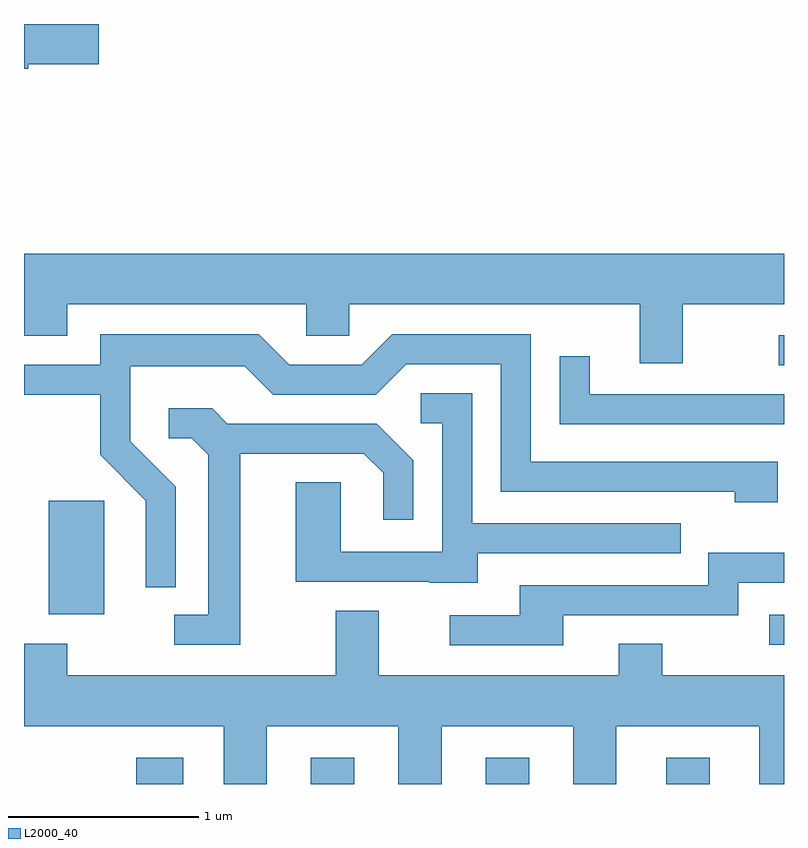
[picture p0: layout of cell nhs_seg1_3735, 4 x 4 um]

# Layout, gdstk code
import gdstk
lib = gdstk.Library(unit=1e-6, precision=1e-09)
def R(c, l, rs):  # rectangles x0, y0, x1, y1
    for r in rs: c.add(gdstk.rectangle(r[:2], r[2:], *l))
def P(c, l, *ps):  # polygons
    for p in ps: c.add(gdstk.Polygon(p, *l))
L2000_40 = (2000, 40)

nhs_seg1_3735 = lib.new_cell('nhs_seg1_3735')
R(nhs_seg1_3735, L2000_40, [(298.201,903.712,298.449,903.849), (299.121,903.712,299.349,903.849), (300.041,903.712,300.269,903.849), (300.991,903.712,301.219,903.849), (301.533,904.446,301.611,904.604), (297.741,904.606,298.034,905.204), (301.583,905.916,301.611,906.074)])
P(nhs_seg1_3735, L2000_40, [(297.634,907.501),(298.004,907.501),(298.004,907.712),(297.611,907.712),(297.611,907.476),(297.634,907.476)],
  [(301.079,906.236),(301.611,906.236),(301.611,906.504),(297.611,906.504),(297.611,906.071),(297.839,906.071),(297.839,906.236),(299.096,906.236),(299.096,906.071),(299.324,906.071),(299.324,906.236),(300.851,906.236),(300.851,905.926),(301.079,905.926)],
  [(298.409,905.277),(298.169,905.517),(298.169,905.911),(298.774,905.911),(298.924,905.761),(299.462,905.761),(299.622,905.921),(300.121,905.921),(300.121,905.251),(301.351,905.251),(301.351,905.196),(301.579,905.196),(301.579,905.409),(300.279,905.409),(300.279,906.079),(299.549,906.079),(299.389,905.919),(299.007,905.919),(298.847,906.079),(298.011,906.079),(298.011,905.919),(297.611,905.919),(297.611,905.761),(298.011,905.761),(298.011,905.444),(298.251,905.204),(298.251,904.748),(298.409,904.748)],
  [(301.611,905.764),(300.589,905.764),(300.589,905.963),(300.431,905.963),(300.431,905.606),(301.611,905.606)],
  [(299.999,904.926),(301.068,904.926),(301.068,905.084),(299.969,905.084),(299.969,905.769),(299.698,905.769),(299.698,905.611),(299.811,905.611),(299.811,904.934),(299.279,904.934),(299.279,905.299),(299.041,905.299),(299.041,904.776),(299.745,904.776),(299.745,904.771),(299.999,904.771)],
  [(298.749,905.451),(299.399,905.451),(299.501,905.349),(299.501,905.103),(299.659,905.103),(299.659,905.417),(299.467,905.609),(298.682,905.609),(298.602,905.689),(298.373,905.689),(298.373,905.531),(298.494,905.531),(298.581,905.444),(298.581,904.604),(298.403,904.604),(298.403,904.446),(298.749,904.446)],
  [(300.449,904.601),(301.369,904.601),(301.369,904.771),(301.611,904.771),(301.611,904.929),(301.211,904.929),(301.211,904.759),(300.221,904.759),(300.221,904.599),(299.853,904.599),(299.853,904.441),(300.449,904.441)],
  [(298.889,904.016),(299.581,904.016),(299.581,903.712),(299.809,903.712),(299.809,904.016),(300.501,904.016),(300.501,903.712),(300.729,903.712),(300.729,904.016),(301.481,904.016),(301.481,903.712),(301.611,903.712),(301.611,904.284),(300.969,904.284),(300.969,904.449),(300.741,904.449),(300.741,904.284),(299.479,904.284),(299.479,904.624),(299.251,904.624),(299.251,904.284),(297.839,904.284),(297.839,904.449),(297.611,904.449),(297.611,904.016),(298.661,904.016),(298.661,903.712),(298.889,903.712)])

lib.write_gds('nhs_seg1_3735.gds')
